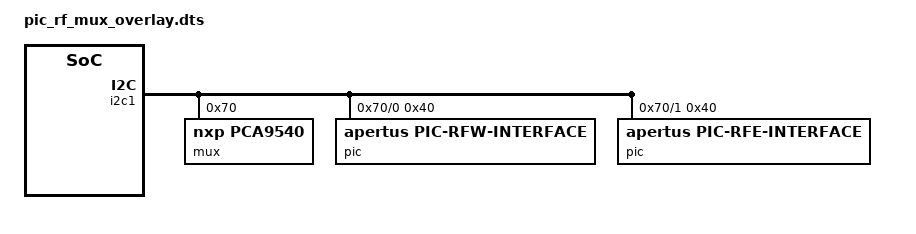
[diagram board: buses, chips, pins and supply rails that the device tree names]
/dts-v1/;
/plugin/;
	    
/ {
	fragment@0 {
		target = <&i2c1>;
		__overlay__ {
			#address-cells = <1>;
			#size-cells = <0>;
			mux@70 {
				compatible = "nxp,pca9540";
				reg = <0x70>;
				#address-cells = <1>;
				#size-cells = <0>;

				i2c@0 {
					#address-cells = <1>;
					#size-cells = <0>;
					reg = <0>;
					pic@40 {
						compatible = "apertus,pic-rfw-interface";
						reg = <0x40>;
					};
				};

				i2c@1 {
					#address-cells = <1>;
					#size-cells = <0>;
					reg = <1>;
					pic@40 {
						compatible = "apertus,pic-rfe-interface";
						reg = <0x40>;
					};
				};
			};
		};
	};
};
